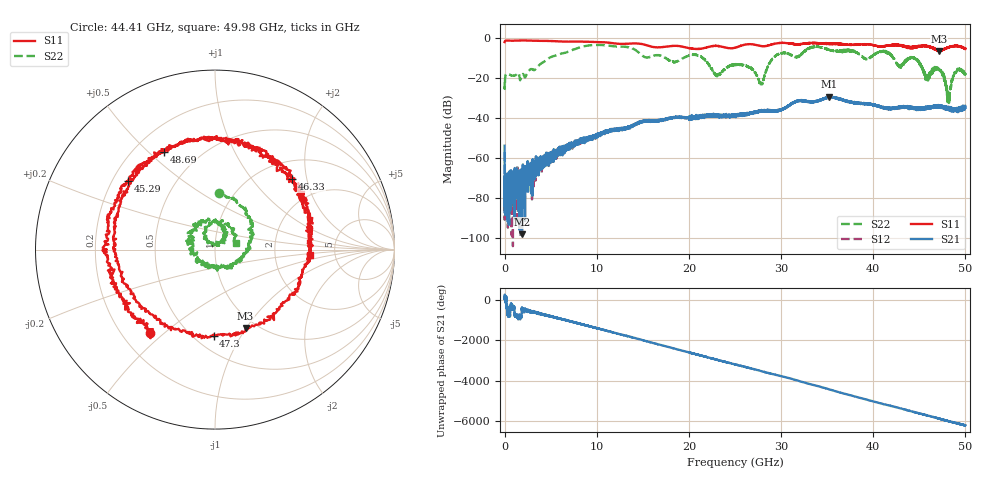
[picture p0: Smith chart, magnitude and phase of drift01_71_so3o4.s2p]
!Created with skrf (http://scikit-rf.org).
# Hz S RI R 50.0
!freq ReS11 ImS11 ReS21 ImS21 ReS12 ImS12 ReS22 ImS22
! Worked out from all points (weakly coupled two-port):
!   10001 points, 300 kHz to 50 GHz, reference 50 ohm
!   highest |S21| = -29.53 dB at 35.25 GHz (marker M1); lowest = -98.4 dB at 1.89 GHz (marker M2)
!   lowest |S11| = -6.6 dB at 47.15 GHz (marker M3), VSWR 2.77, Z = 44.3 - j49.7 ohm
!   |S11| at or under -10 dB: nowhere
!   |S22| runs from -32.6 to -3.6 dB; largest |S21 - S12| = 0.0048
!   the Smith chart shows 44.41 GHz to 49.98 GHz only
!   S11 on the Smith chart (normalised r, x): 44.41 GHz: 0.32, -0.45; 45.29 GHz: 0.26, +0.32; 46.33 GHz: 1.38, +1.64; 47.3 GHz: 0.61, -0.77; 48.69 GHz: 0.32, +0.56; 49.98 GHz: 3.23, -0.25
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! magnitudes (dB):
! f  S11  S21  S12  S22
! 300 kHz  -2.1  -54.0  -57.3  -22.3
! 275.3 MHz  -1.4  -77.1  -76.2  -18.0
! 1.89 GHz  -1.4  -98.4  -73.4  -18.6
! 8.335 GHz  -1.9  -51.1  -51.7  -4.5
! 16.67 GHz  -4.8  -41.5  -41.4  -8.7
! 20.99 GHz  -5.6  -39.0  -40.0  -8.8
! 23.09 GHz  -4.1  -38.8  -39.3  -18.9
! 25 GHz  -5.0  -38.8  -39.1  -13.6
! 27.85 GHz  -4.2  -36.2  -36.5  -23.2
! 29.46 GHz  -2.9  -36.4  -36.5  -8.9
! 33.34 GHz  -2.6  -32.1  -31.9  -4.7
! 35.25 GHz  -3.0  -29.5  -29.7  -6.1
! 41.67 GHz  -3.8  -35.4  -35.4  -8.1
! 44.41 GHz  -4.6  -34.9  -35.1  -10.0
! 45.29 GHz  -4.2  -35.3  -35.3  -14.6
! 46.33 GHz  -4.7  -34.7  -34.6  -16.9
! 47.15 GHz  -6.6  -34.5  -34.5  -15.9
! 47.3 GHz  -6.3  -34.9  -34.8  -16.8
! 48.12 GHz  -4.8  -35.9  -35.7  -27.0
! 48.69 GHz  -4.2  -36.8  -35.9  -19.2
! 49.98 GHz  -5.5  -34.3  -35.1  -18.2
! 50 GHz  -5.4  -35.1  -35.1  -18.0
